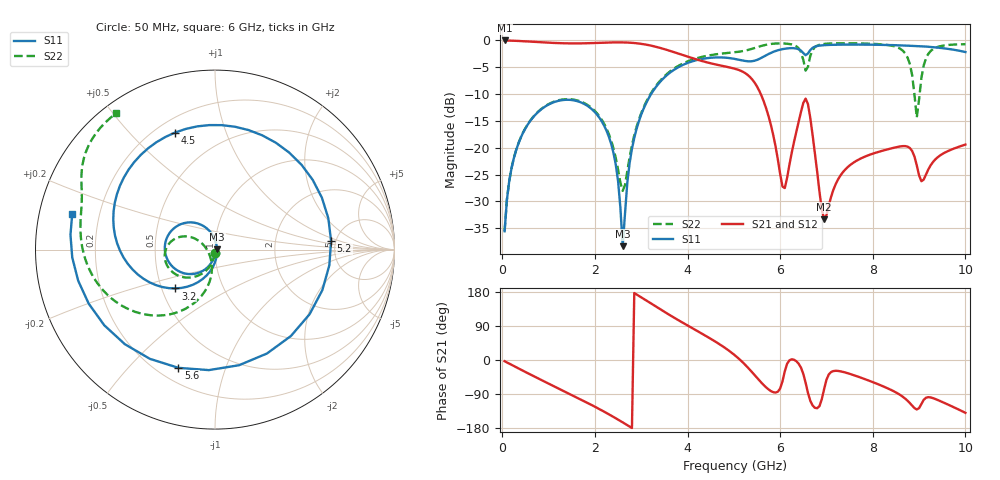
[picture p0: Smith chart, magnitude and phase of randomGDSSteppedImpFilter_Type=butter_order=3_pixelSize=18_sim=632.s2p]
! freq	dB(S11)	phase(S11)	dB(S12)	phase(S12)
!  dB(S21)	phase(S21)	dB(S22)	phase(S22)
!S-par simulation data
#  GHz  S  DB  R 50
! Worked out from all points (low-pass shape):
!   200 points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, 50 MHz to 10 GHz, reference 50 ohm
!   highest |S21| = -0.01 dB at 50 MHz (marker M1); lowest = -33.3 dB at 6.95 GHz (marker M2)
!   |S21| within 3 dB of the highest: start of sweep to 3.997 GHz
!   lowest |S11| = -38.3 dB at 2.6 GHz (marker M3), VSWR 1.02, Z = 51.2 + j0.261 ohm
!   |S11| at or under -10 dB: start of sweep to 3.213 GHz
!   |S22| runs from -35.5 to -0.5 dB; largest |S21 - S12| = 0
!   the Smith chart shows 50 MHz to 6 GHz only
!   S11 on the Smith chart (normalised r, x): 50 MHz: 1.00, -0.03; 3.2 GHz: 0.59, -0.28; 4.5 GHz: 0.27, +0.68; 5.2 GHz: 4.56, +0.76; 5.6 GHz: 0.28, -0.70; 6 GHz: 0.10, +0.12
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0.05  -35.54 -92.2  -0.01 -3.2  -0.01 -3.2  -35.53 -91.7
0.55  -15.66 -127.1  -0.20 -34.8  -0.20 -34.8  -15.61 -121.4
1.75  -11.75 153.1  -0.55 -107.5  -0.55 -107.5  -11.59 174.6
2.35  -19.24 106.6  -0.38 -146.7  -0.38 -146.7  -18.64 151.2
2.6  -38.32 12.1  -0.37 -164.5  -0.37 -164.5  -28.03 -158.2
2.8  -20.19 -97.0  -0.45 -179.4  -0.45 -179.4  -19.52 -99.2
3.2  -10.18 -135.7  -0.95 149.9  -0.95 149.9  -9.98 -111.0
3.4  -7.80 -153.4  -1.38 134.6  -1.38 134.6  -7.59 -122.2
4.5  -3.23 108.8  -4.26 56.0  -4.26 56.0  -2.74 -177.4
5.05  -3.49 35.5  -5.35 9.6  -5.35 9.6  -2.17 163.0
5.2  -3.76 4.3  -5.87 -7.1  -5.87 -7.1  -1.98 158.7
5.6  -3.23 -107.2  -10.36 -60.5  -10.36 -60.5  -1.01 145.2
6  -1.72 165.8  -24.87 -75.3  -24.87 -75.3  -0.56 126.0
6.55  -2.75 104.2  -10.84 -60.2  -10.84 -60.2  -5.64 103.3
6.7  -1.39 97.8  -17.58 -119.8  -17.58 -119.8  -1.80 119.9
6.95  -0.89 75.8  -33.28 -76.6  -33.28 -76.6  -0.65 102.2
8.35  -0.86 -10.3  -20.22 -76.3  -20.22 -76.3  -0.89 35.8
8.75  -0.98 -32.1  -19.78 -107.4  -19.78 -107.4  -3.16 -10.5
8.9  -1.04 -40.3  -21.63 -126.9  -21.63 -126.9  -10.08 -70.8
9  -1.07 -45.9  -25.15 -127.0  -25.15 -127.0  -10.99 153.9
9.25  -1.22 -60.4  -23.26 -98.8  -23.26 -98.8  -1.98 68.4
10  -2.16 -111.5  -19.40 -139.4  -19.40 -139.4  -0.71 14.9
